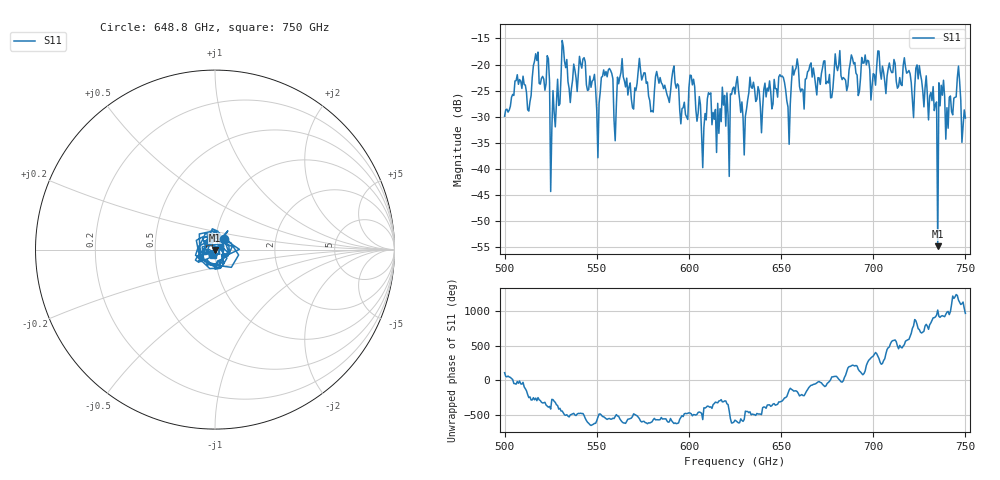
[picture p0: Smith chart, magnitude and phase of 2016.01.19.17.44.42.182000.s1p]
!Created with skrf (http://scikit-rf.org).
# GHz S RI R 50.0
!freq ReS11 ImS11
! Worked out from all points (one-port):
!   401 points, 500 GHz to 750 GHz, reference 50 ohm
!   lowest |S11| = -54.8 dB at 735 GHz (marker M1), VSWR 1.00, Z = 50.1 - j0.169 ohm
!   |S11| at or under -10 dB: start of sweep to end of sweep
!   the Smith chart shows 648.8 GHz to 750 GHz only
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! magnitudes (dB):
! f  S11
! 500 GHz  -29.9
! 506.9 GHz  -22.0
! 513.1 GHz  -28.9
! 516.9 GHz  -17.9
! 523.1 GHz  -18.3
! 526.2 GHz  -25.0
! 531.2 GHz  -15.4
! 542.5 GHz  -19.0
! 550.6 GHz  -37.8
! 553.8 GHz  -21.0
! 560.6 GHz  -27.9
! 562.5 GHz  -22.5
! 593.8 GHz  -23.7
! 598.1 GHz  -29.5
! 601.9 GHz  -23.9
! 608.1 GHz  -32.0
! 625 GHz  -25.7
! 629.4 GHz  -30.3
! 633.8 GHz  -24.4
! 650 GHz  -22.3
! 653.8 GHz  -28.1
! 656.2 GHz  -20.3
! 687.5 GHz  -19.8
! 718.8 GHz  -21.5
! 735 GHz  -54.8
! 736.9 GHz  -24.0
! 745.6 GHz  -22.5
! 750 GHz  -30.3
